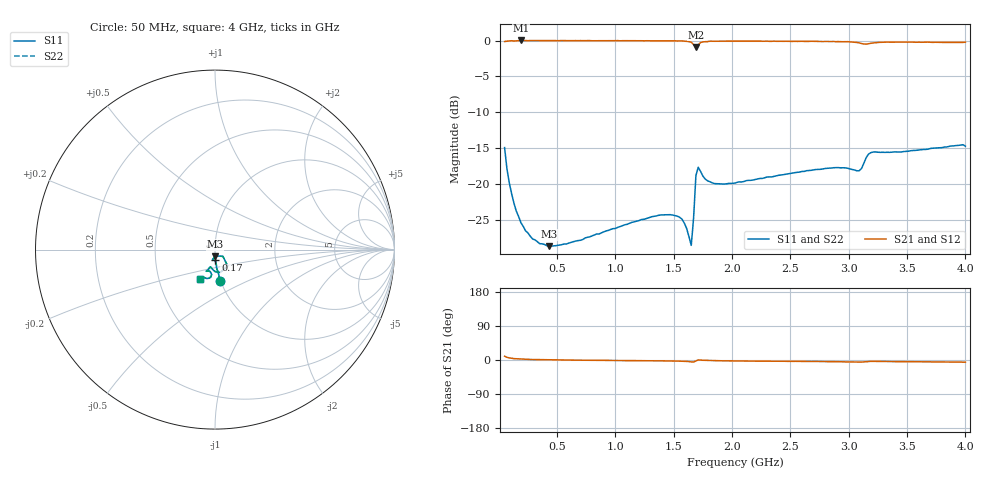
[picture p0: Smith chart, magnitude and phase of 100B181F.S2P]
!  American Technical Ceramics  Date:  3/13/98
!  One Norden Lane
!  Huntington Station,  NY.  11746-2102
!  Tel:  (516) 547-5700  Fax:  (516) 547-5748
!  Part Number  100b181f
!  Description: Porcelain, High Q, Low ESR
!  Application: Bypass, Coupling, Timing, Feedback
!  Tuning, Impedance Match, Blocking
# GHZ S DB R 50
! Freq  |S11|  S11 Ph  |S21|  S21 Ph  |S12|  S12 Ph  |S22|  S22 Ph
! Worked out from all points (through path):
!   201 points, 50 MHz to 4 GHz, reference 50 ohm
!   highest |S21| = 0.02 dB at 190 MHz (marker M1); lowest = -0.9 dB at 1.69 GHz (marker M2)
!   group delay of S21, straight-line fit = 5.14 ps
!   lowest |S11| = -28.6 dB at 430 MHz (marker M3), VSWR 1.08, Z = 49.8 - j3.69 ohm
!   |S11| at or under -10 dB: start of sweep to end of sweep
!   |S22| runs from -28.6 to -14.5 dB; largest |S21 - S12| = 0
!   S11 on the Smith chart (normalised r, x): 50 MHz: 0.99, -0.36; 170 MHz: 1.00, -0.12; 4 GHz: 0.81, -0.27
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0.05  -14.91 -80.4  -0.13 10.0  -0.13 10.0  -14.91 -80.4
0.09  -19.82 -85.2  -0.04 5.5  -0.04 5.5  -19.82 -85.2
0.17  -24.50 -88.2  -0.01 2.7  -0.01 2.7  -24.50 -88.2
0.19  -25.38 -87.4  0.02 2.5  0.02 2.5  -25.38 -87.4
0.29  -27.64 -89.2  0.01 1.3  0.01 1.3  -27.64 -89.2
0.43  -28.64 -91.1  0.01 0.5  0.01 0.5  -28.64 -91.1
0.72  -27.71 -94.7  -0.01 -0.7  -0.01 -0.7  -27.71 -94.7
1.37  -24.34 -102.0  -0.03 -2.2  -0.03 -2.2  -24.34 -102.0
1.57  -24.86 -103.1  -0.04 -3.2  -0.04 -3.2  -24.86 -103.1
1.61  -26.15 -99.5  -0.09 -3.8  -0.09 -3.8  -26.15 -99.5
1.65  -28.53 -72.4  -0.23 -5.0  -0.23 -5.0  -28.53 -72.4
1.67  -24.72 -40.4  -0.54 -5.2  -0.54 -5.2  -24.72 -40.4
1.69  -18.79 -52.4  -0.87 -2.5  -0.87 -2.5  -18.79 -52.4
1.71  -17.65 -77.2  -0.57 0.1  -0.57 0.1  -17.65 -77.2
1.75  -18.88 -95.3  -0.18 -0.7  -0.18 -0.7  -18.88 -95.3
1.85  -19.92 -102.8  -0.09 -1.8  -0.09 -1.8  -19.92 -102.8
2.03  -19.83 -105.5  -0.08 -2.4  -0.08 -2.4  -19.83 -105.5
2.7  -18.00 -110.6  -0.10 -3.8  -0.10 -3.8  -18.00 -110.6
3.09  -18.13 -104.3  -0.32 -5.8  -0.32 -5.8  -18.13 -104.3
3.19  -15.61 -104.1  -0.38 -3.5  -0.38 -3.5  -15.61 -104.1
3.35  -15.57 -111.5  -0.22 -4.1  -0.22 -4.1  -15.57 -111.5
4  -14.71 -116.7  -0.22 -5.7  -0.22 -5.7  -14.71 -116.7
